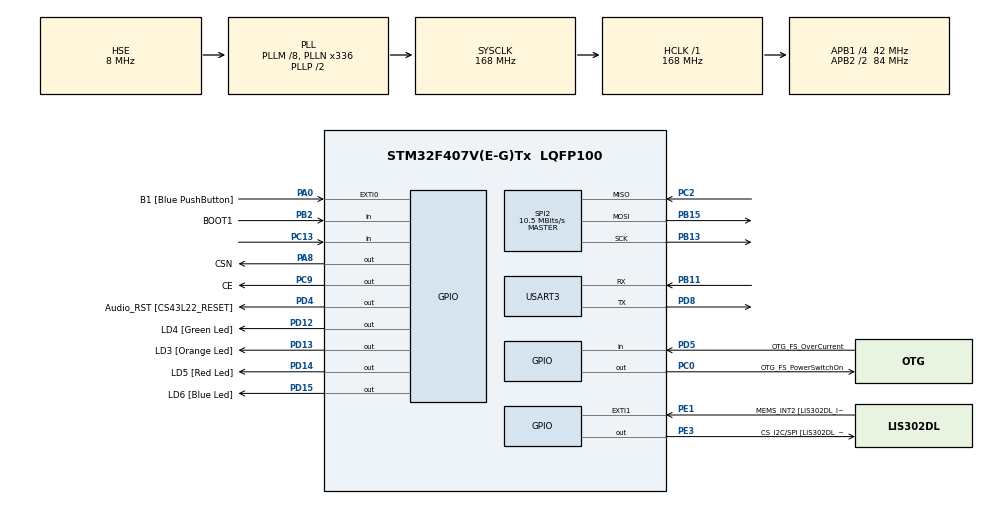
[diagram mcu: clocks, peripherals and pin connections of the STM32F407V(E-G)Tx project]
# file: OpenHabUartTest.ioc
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Mcu.Family=STM32F4
Mcu.Name=STM32F407V(E-G)Tx
Mcu.Package=LQFP100
NVIC.PriorityGroup=NVIC_PRIORITYGROUP_0
NVIC.USART3_IRQn=true\:0\:0\:false
PA0-WKUP.GPIO_Label=B1 [Blue PushButton]
PA0-WKUP.GPIO_ModeDefaultEXTI=GPIO_MODE_EVT_RISING
PA0-WKUP.GPIO_PuPd=GPIO_NOPULL
PA0-WKUP.Signal=GPXTI0
PA10.GPIO_Label=OTG_FS_ID
PA10.GPIO_Mode=GPIO_MODE_AF_PP
PA10.GPIO_PuPd=GPIO_NOPULL
PA10.GPIO_Speed=GPIO_SPEED_LOW
PA10.Signal=USB_OTG_FS_ID
PA11.GPIO_Label=OTG_FS_DM
PA11.GPIO_Mode=GPIO_MODE_AF_PP
PA11.GPIO_PuPd=GPIO_NOPULL
PA11.GPIO_Speed=GPIO_SPEED_LOW
PA11.Signal=USB_OTG_FS_DM
PA12.GPIO_Label=OTG_FS_DP
PA12.GPIO_Mode=GPIO_MODE_AF_PP
PA12.GPIO_PuPd=GPIO_NOPULL
PA12.GPIO_Speed=GPIO_SPEED_LOW
PA12.Signal=USB_OTG_FS_DP
PA13.GPIO_Label=SWDIO
PA13.Mode=Trace-Asynchronous_SW
PA13.Signal=SYS_JTMS-SWDIO
PA14.GPIO_Label=SWCLK
PA14.Mode=Trace-Asynchronous_SW
PA14.Signal=SYS_JTCK-SWCLK
PA4.GPIO_Label=I2S3_WS [CS43L22_LRCK]
PA4.GPIO_Mode=GPIO_MODE_AF_PP
PA4.GPIO_PuPd=GPIO_NOPULL
PA4.GPIO_Speed=GPIO_SPEED_LOW
PA4.Signal=I2S3_WS
PA5.GPIO_Label=SPI1_SCK [LIS302DL_SCL/SPC]
PA5.GPIO_Mode=GPIO_MODE_AF_PP
PA5.GPIO_PuPd=GPIO_NOPULL
PA5.GPIO_Speed=GPIO_SPEED_LOW
PA5.Signal=SPI1_SCK
PA6.GPIO_Label=SPI1_MISO [LIS302DL_SDO]
PA6.GPIO_Mode=GPIO_MODE_AF_PP
PA6.GPIO_PuPd=GPIO_NOPULL
PA6.GPIO_Speed=GPIO_SPEED_LOW
PA6.Signal=SPI1_MISO
PA7.GPIO_Label=SPI1_MOSI [LIS302DL_SDA/SDI/SDO]
PA7.GPIO_Mode=GPIO_MODE_AF_PP
PA7.GPIO_PuPd=GPIO_NOPULL
PA7.GPIO_Speed=GPIO_SPEED_LOW
PA7.Signal=SPI1_MOSI
PA8.GPIO_Label=CSN
PA8.GPIO_ModeDefaultOutputPP=GPIO_MODE_OUTPUT_PP
PA8.GPIO_PuPd=GPIO_NOPULL
PA8.GPIO_Speed=GPIO_SPEED_LOW
PA8.Signal=GPIO_Output
PA9.GPIO_Label=VBUS_FS
PA9.GPIO_Mode=GPIO_MODE_INPUT
PA9.GPIO_PuPd=GPIO_NOPULL
PA9.Signal=USB_OTG_FS_VBUS
PB10.GPIO_Label=CLK_IN [MP45DT02_CLK]
PB10.GPIO_Mode=GPIO_MODE_AF_PP
PB10.GPIO_PuPd=GPIO_NOPULL
PB10.GPIO_Speed=GPIO_SPEED_LOW
PB10.Signal=I2S2_CK
PB11.Mode=Asynchronous
PB11.Signal=USART3_RX
PB13.Mode=Full_Duplex_Master
PB13.Signal=SPI2_SCK
PB15.Mode=Full_Duplex_Master
PB15.Signal=SPI2_MOSI
PB2.GPIO_Label=BOOT1
PB2.GPIO_Mode=GPIO_MODE_INPUT
PB2.GPIO_PuPd=GPIO_NOPULL
PB2.Signal=GPIO_Input
PB3.GPIO_Label=SWO
PB3.Mode=Trace-Asynchronous_SW
PB3.Signal=SYS_JTDO-SWO
PB6.GPIO_Label=Audio_SCL [CS43L22_SCL]
PB6.GPIO_Mode=GPIO_MODE_AF_OD
PB6.GPIO_PuPd=GPIO_NOPULL
PB6.GPIO_PuPdOD=GPIO_PULLUP
PB6.GPIO_Speed=GPIO_SPEED_LOW
PB6.Signal=I2C1_SCL
PB9.GPIO_Label=Audio_SDA [CS43L22_SDA]
PB9.GPIO_Mode=GPIO_MODE_AF_OD
PB9.GPIO_PuPd=GPIO_NOPULL
PB9.GPIO_PuPdOD=GPIO_PULLUP
PB9.GPIO_Speed=GPIO_SPEED_LOW
PB9.Signal=I2C1_SDA
PC0.GPIO_Label=OTG_FS_PowerSwitchOn
PC0.GPIO_ModeDefaultOutputPP=GPIO_MODE_OUTPUT_PP
PC0.GPIO_PuPd=GPIO_NOPULL
PC0.GPIO_Speed=GPIO_SPEED_LOW
PC0.Signal=GPIO_Output
PC10.GPIO_Label=I2S3_SCK [CS43L22_SCLK]
PC10.GPIO_Mode=GPIO_MODE_AF_PP
PC10.GPIO_PuPd=GPIO_NOPULL
PC10.GPIO_Speed=GPIO_SPEED_LOW
PC10.Signal=I2S3_CK
PC12.GPIO_Label=I2S3_SD [CS43L22_SDIN]
PC12.GPIO_Mode=GPIO_MODE_AF_PP
PC12.GPIO_PuPd=GPIO_NOPULL
PC12.GPIO_Speed=GPIO_SPEED_LOW
PC12.Signal=I2S3_SD
PC13-ANTI_TAMP.Signal=GPIO_Input
PC14-OSC32_IN.GPIO_Label=PC14-OSC32_IN
PC14-OSC32_IN.Signal=RCC_OSC32_IN
PC15-OSC32_OUT.GPIO_Label=PC15-OSC32_OUT
PC15-OSC32_OUT.Signal=RCC_OSC32_OUT
PC2.Mode=Full_Duplex_Master
PC2.Signal=SPI2_MISO
PC3.GPIO_Label=PDM_OUT [MP45DT02_DOUT]
PC3.GPIO_Mode=GPIO_MODE_AF_PP
PC3.GPIO_PuPd=GPIO_NOPULL
PC3.GPIO_Speed=GPIO_SPEED_LOW
PC3.Signal=I2S2_SD
PC7.GPIO_Label=I2S3_MCK [CS43L22_MCLK]
PC7.GPIO_Mode=GPIO_MODE_AF_PP
PC7.GPIO_PuPd=GPIO_NOPULL
PC7.GPIO_Speed=GPIO_SPEED_LOW
PC7.Signal=I2S3_MCK
PC9.GPIO_Label=CE
PC9.GPIO_ModeDefaultOutputPP=GPIO_MODE_OUTPUT_PP
PC9.GPIO_PuPd=GPIO_NOPULL
PC9.GPIO_Speed=GPIO_SPEED_LOW
PC9.Signal=GPIO_Output
PD12.GPIO_Label=LD4 [Green Led]
PD12.GPIO_ModeDefaultOutputPP=GPIO_MODE_OUTPUT_PP
PD12.GPIO_PuPd=GPIO_NOPULL
PD12.GPIO_Speed=GPIO_SPEED_LOW
PD12.Signal=GPIO_Output
PD13.GPIO_Label=LD3 [Orange Led]
PD13.GPIO_ModeDefaultOutputPP=GPIO_MODE_OUTPUT_PP
PD13.GPIO_PuPd=GPIO_NOPULL
PD13.GPIO_Speed=GPIO_SPEED_LOW
PD13.Signal=GPIO_Output
PD14.GPIO_Label=LD5 [Red Led]
PD14.GPIO_ModeDefaultOutputPP=GPIO_MODE_OUTPUT_PP
PD14.GPIO_PuPd=GPIO_NOPULL
PD14.GPIO_Speed=GPIO_SPEED_LOW
PD14.Signal=GPIO_Output
PD15.GPIO_Label=LD6 [Blue Led]
PD15.GPIO_ModeDefaultOutputPP=GPIO_MODE_OUTPUT_PP
PD15.GPIO_PuPd=GPIO_NOPULL
PD15.GPIO_Speed=GPIO_SPEED_LOW
PD15.Signal=GPIO_Output
PD4.GPIO_Label=Audio_RST [CS43L22_RESET]
PD4.GPIO_ModeDefaultOutputPP=GPIO_MODE_OUTPUT_PP
PD4.GPIO_PuPd=GPIO_NOPULL
PD4.GPIO_Speed=GPIO_SPEED_LOW
PD4.Signal=GPIO_Output
PD5.GPIO_Label=OTG_FS_OverCurrent
PD5.GPIO_Mode=GPIO_MODE_INPUT
PD5.GPIO_PuPd=GPIO_NOPULL
PD5.Signal=GPIO_Input
PD8.Mode=Asynchronous
PD8.Signal=USART3_TX
PE1.GPIO_Label=MEMS_INT2 [LIS302DL_INT2]
PE1.GPIO_ModeDefaultEXTI=GPIO_MODE_EVT_RISING
PE1.GPIO_PuPd=GPIO_NOPULL
PE1.Signal=GPXTI1
PE3.GPIO_Label=CS_I2C/SPI [LIS302DL_CS_I2C/SPI]
PE3.GPIO_ModeDefaultOutputPP=GPIO_MODE_OUTPUT_PP
PE3.GPIO_PuPd=GPIO_NOPULL
PE3.GPIO_Speed=GPIO_SPEED_LOW
PE3.Signal=GPIO_Output
PH0-OSC_IN.GPIO_Label=PH0-OSC_IN
PH0-OSC_IN.Mode=HSE-External-Oscillator
PH0-OSC_IN.Signal=RCC_OSC_IN
PH1-OSC_OUT.GPIO_Label=PH1-OSC_OUT
PH1-OSC_OUT.Mode=HSE-External-Oscillator
PH1-OSC_OUT.Signal=RCC_OSC_OUT
ProjectManager.TargetToolchain=MDK-ARM V5
RCC.48MHZClocksFreq_Value=48000000
RCC.AHBFreq_Value=168000000
RCC.APB1CLKDivider=RCC_HCLK_DIV4
RCC.APB1Freq_Value=42000000
RCC.APB1TimFreq_Value=84000000
RCC.APB2CLKDivider=RCC_HCLK_DIV2
RCC.APB2Freq_Value=84000000
RCC.APB2TimFreq_Value=168000000
RCC.CortexFreq_Value=21000000
RCC.HCLKFreq_Value=168000000
RCC.HSE_VALUE=8000000
RCC.HSI_VALUE=16000000
RCC.LSE_VALUE=32768
RCC.PLLM=8
RCC.PLLN=336
RCC.PLLQ=7
RCC.PLLSource=RCC_PLLSOURCE_HSE
RCC.PLLSourceVirtual=RCC_PLLSOURCE_HSE
RCC.SYSCLKFreq_VALUE=168000000
RCC.SYSCLKSource=RCC_SYSCLKSOURCE_PLLCLK
RCC.VCOOutputFreq_Value=336000000
SPI2.BaudRatePrescaler=SPI_BAUDRATEPRESCALER_4
SPI2.CalculateBaudRate=10.5 MBits/s
SPI2.Mode=SPI_MODE_MASTER

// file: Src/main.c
/**
  ******************************************************************************
  * File Name          : main.c
  * Date               : 03/08/2015 18:04:39
  * Description        : Main program body
  ******************************************************************************
  *
  * COPYRIGHT(c) 2015 STMicroelectronics
  *
  * Redistribution and use in source and binary forms, with or without modification,
  * are permitted provided that the following conditions are met:
  *   1. Redistributions of source code must retain the above copyright notice,
  *      this list of conditions and the following disclaimer.
  *   2. Redistributions in binary form must reproduce the above copyright notice,
  *      this list of conditions and the following disclaimer in the documentation
  *      and/or other materials provided with the distribution.
  *   3. Neither the name of STMicroelectronics nor the names of its contributors
  *      may be used to endorse or promote products derived from this software
  *      without specific prior written permission.
  *
  * THIS SOFTWARE IS PROVIDED BY THE COPYRIGHT HOLDERS AND CONTRIBUTORS "AS IS"
  * AND ANY EXPRESS OR IMPLIED WARRANTIES, INCLUDING, BUT NOT LIMITED TO, THE
  * IMPLIED WARRANTIES OF MERCHANTABILITY AND FITNESS FOR A PARTICULAR PURPOSE ARE
  * DISCLAIMED. IN NO EVENT SHALL THE COPYRIGHT HOLDER OR CONTRIBUTORS BE LIABLE
  * FOR ANY DIRECT, INDIRECT, INCIDENTAL, SPECIAL, EXEMPLARY, OR CONSEQUENTIAL
  * DAMAGES (INCLUDING, BUT NOT LIMITED TO, PROCUREMENT OF SUBSTITUTE GOODS OR
  * SERVICES; LOSS OF USE, DATA, OR PROFITS; OR BUSINESS INTERRUPTION) HOWEVER
  * CAUSED AND ON ANY THEORY OF LIABILITY, WHETHER IN CONTRACT, STRICT LIABILITY,
  * OR TORT (INCLUDING NEGLIGENCE OR OTHERWISE) ARISING IN ANY WAY OUT OF THE USE
  * OF THIS SOFTWARE, EVEN IF ADVISED OF THE POSSIBILITY OF SUCH DAMAGE.
  *
  ******************************************************************************
  */

#include "stm32f4xx_hal.h"

/* USER CODE BEGIN Includes */
#include <string.h>
#include <stdbool.h>
#include "NRF24.h"
#include "AES.h"
#include "encrypted_block.h"
#include "nrf24_address_cfg.h"
/* USER CODE END Includes */

SPI_HandleTypeDef hspi2;

UART_HandleTypeDef huart3;

void SystemClock_Config(void);
static void MX_GPIO_Init(void);
static void MX_SPI2_Init(void);
static void MX_USART3_UART_Init(void);

/* USER CODE BEGIN 0 */
void Light(bool val)
{
	if(val)
	{
		HAL_GPIO_WritePin(GPIOD, GPIO_PIN_15, GPIO_PIN_SET);
	}
	else{
		HAL_GPIO_WritePin(GPIOD, GPIO_PIN_15, GPIO_PIN_RESET);
	}
}

typedef enum
{
	ACCIDENT_MODE=0,
	REGULAR_MODE
} AccidentStatus;

typedef struct
{
	uint8_t Sec;
	uint8_t Min;
	uint8_t Hour;
}Time;

typedef struct
{
	uint8_t Day;
	uint8_t Mont;
	uint8_t Year;
}Date;

typedef struct
{
	Time Time;
	uint8_t WeekDay;
	Date Date;
} DateTime;

typedef enum ValveStatus
{
	VALVE_STATUS_CLOSED=0,
	VALVE_STATUS_OPENED
} ValveStatus;

typedef struct
{
	uint32_t ccw; //0-3
	uint32_t chw; //4-7
	AccidentStatus accident_status; //8
	uint16_t accident_level_value; //9,10
	DateTime valveCloseDate; //11,12,13, 14-���� ������, 15,16,17
	DateTime valveOpenDate; //18 - 24
	ValveStatus valveStatus; //25
	uint16_t radio_onair_interval; //26,27
	//uint32_t key; //28-31
	//DateTime radio_sensor_dateTime; //32 - 38
} SettingsAndStatus;

aes128_ctx_t AES_ctx;

uint8_t readUart(uint8_t * buff, uint8_t max)
{
	uint8_t cur_pos=0;
	while(cur_pos<max)
	{
		if( HAL_UART_Receive(&huart3, &buff[cur_pos++], 1, 100) != HAL_OK)break;
	}
	buff[--cur_pos]=0;
	return cur_pos;
}

/* USER CODE END 0 */

int main(void)
{

  /* MCU Configuration----------------------------------------------------------*/

  /* Reset of all peripherals, Initializes the Flash interface and the Systick. */
  HAL_Init();

  /* Configure the system clock */
  SystemClock_Config();

  /* Initialize all configured peripherals */
  MX_GPIO_Init();
  MX_SPI2_Init();
  MX_USART3_UART_Init();

  /* USER CODE BEGIN 2 */
	nrf24_init(&hspi2);

	nrf24_config(99,32);

  //nrf24_tx_address(tx_address);
  nrf24_rx_address(RX_ADDR_P1, openhab_gate_address);
	uint8_t buff[32];

	nrf24_powerUpRx();

	aes128_init(AES_key, &AES_ctx);
	uint8_t inputBuff[20];

  /* USER CODE END 2 */

  /* Infinite loop */
  /* USER CODE BEGIN WHILE */
  while (1)
  {
		if(nrf24_dataReady()) // main controller -> OpenHAB
    {
			HAL_GPIO_TogglePin(GPIOD, GPIO_PIN_15); //blue

      nrf24_getData(buff);
			SettingsAndStatus * data=(SettingsAndStatus *)buff;

			char text[32];
			sprintf(text, "CCW %d", data->ccw);
			HAL_UART_Transmit(&huart3, (uint8_t*)text, strlen(text), 100);
			HAL_Delay(200);

			sprintf(text, "CHW %d", data->chw);
			HAL_UART_Transmit(&huart3, (uint8_t*)text, strlen(text), 100);
			HAL_Delay(200);

			if(data->valveStatus==VALVE_STATUS_CLOSED)
			{
				HAL_UART_Transmit(&huart3, (uint8_t*)"V0", 2, 100);
				HAL_Delay(200);
			}
			if(data->valveStatus==VALVE_STATUS_OPENED)
			{
				HAL_UART_Transmit(&huart3, (uint8_t*)"V1", 2, 100);
				HAL_Delay(200);
			}

			if(data->accident_status==ACCIDENT_MODE)
			{
				HAL_UART_Transmit(&huart3, (uint8_t*)"ACCIDENT1", 9, 100);
				HAL_Delay(200);
			}
			if(data->accident_status==REGULAR_MODE)
			{
				HAL_UART_Transmit(&huart3, (uint8_t*)"ACCIDENT0", 9, 100);
				HAL_Delay(200);
			}

		}

		uint8_t tempBuff[32];
		EncryptedBlock * eb=(EncryptedBlock *)tempBuff;
		bool needDataToSend=false;

		if(HAL_GPIO_ReadPin(GPIOA, GPIO_PIN_0)==GPIO_PIN_SET)
		{
			eb->data[0]=4;
			needDataToSend=true;
			while(HAL_GPIO_ReadPin(GPIOA, GPIO_PIN_0)==GPIO_PIN_SET){};
		}

		if(readUart(inputBuff, 20)>0) //OpenHAB -> main controller
		{
			HAL_GPIO_TogglePin(GPIOD, GPIO_PIN_14); //red

			nrf24_tx_address(master_controller_address_pipe2);

			if(strcmp((const char*)inputBuff, "*V0")==0)
			{
				eb->data[0]=0;
				needDataToSend=true;
			}

			if(strcmp((const char*)inputBuff, "*V1")==0)
			{
				eb->data[0]=1;
				needDataToSend=true;
			}

			if(strcmp((const char*)inputBuff, "*ACCIDENT0")==0)
			{
				eb->data[0]=2;
				needDataToSend=true;
			}

			if(strcmp((const char*)inputBuff, "*ACCIDENT1")==0)
			{
				eb->data[0]=3;
				needDataToSend=true;
			}

			if(strcmp((const char*)inputBuff, "*BEEP")==0)
			{
				eb->data[0]=4;
				needDataToSend=true;
			}

		}

		if(needDataToSend)
		{
			HAL_GPIO_TogglePin(GPIOD, GPIO_PIN_13); //orange

			aes128_enc(tempBuff, &AES_ctx);
			//aes128_enc(tempBuff+16, &AES_ctx);

			nrf24_sendDL(tempBuff, 16);
			while(nrf24_isSending()){};

			nrf24_powerUpRx();
		}

  /* USER CODE END WHILE */

  }

}

/** System Clock Configuration
*/
void SystemClock_Config(void)
{

  RCC_OscInitTypeDef RCC_OscInitStruct;
  RCC_ClkInitTypeDef RCC_ClkInitStruct;

  __PWR_CLK_ENABLE();

  __HAL_PWR_VOLTAGESCALING_CONFIG(PWR_REGULATOR_VOLTAGE_SCALE1);

  RCC_OscInitStruct.OscillatorType = RCC_OSCILLATORTYPE_HSE;
  RCC_OscInitStruct.HSEState = RCC_HSE_ON;
  RCC_OscInitStruct.PLL.PLLState = RCC_PLL_ON;
  RCC_OscInitStruct.PLL.PLLSource = RCC_PLLSOURCE_HSE;
  RCC_OscInitStruct.PLL.PLLM = 8;
  RCC_OscInitStruct.PLL.PLLN = 336;
  RCC_OscInitStruct.PLL.PLLP = RCC_PLLP_DIV2;
  RCC_OscInitStruct.PLL.PLLQ = 7;
  HAL_RCC_OscConfig(&RCC_OscInitStruct);

  RCC_ClkInitStruct.ClockType = RCC_CLOCKTYPE_SYSCLK|RCC_CLOCKTYPE_PCLK1
                              |RCC_CLOCKTYPE_PCLK2;
  RCC_ClkInitStruct.SYSCLKSource = RCC_SYSCLKSOURCE_PLLCLK;
  RCC_ClkInitStruct.AHBCLKDivider = RCC_SYSCLK_DIV1;
  RCC_ClkInitStruct.APB1CLKDivider = RCC_HCLK_DIV4;
  RCC_ClkInitStruct.APB2CLKDivider = RCC_HCLK_DIV2;
  HAL_RCC_ClockConfig(&RCC_ClkInitStruct, FLASH_LATENCY_5);

}

/* SPI2 init function */
void MX_SPI2_Init(void)
{

  hspi2.Instance = SPI2;
  hspi2.Init.Mode = SPI_MODE_MASTER;
  hspi2.Init.Direction = SPI_DIRECTION_2LINES;
  hspi2.Init.DataSize = SPI_DATASIZE_8BIT;
  hspi2.Init.CLKPolarity = SPI_POLARITY_LOW;
  hspi2.Init.CLKPhase = SPI_PHASE_1EDGE;
  hspi2.Init.NSS = SPI_NSS_SOFT;
  hspi2.Init.BaudRatePrescaler = SPI_BAUDRATEPRESCALER_4;
  hspi2.Init.FirstBit = SPI_FIRSTBIT_MSB;
  hspi2.Init.TIMode = SPI_TIMODE_DISABLED;
  hspi2.Init.CRCCalculation = SPI_CRCCALCULATION_DISABLED;
  HAL_SPI_Init(&hspi2);

}

/* USART3 init function */
void MX_USART3_UART_Init(void)
{

  huart3.Instance = USART3;
  huart3.Init.BaudRate = 115200;
  huart3.Init.WordLength = UART_WORDLENGTH_8B;
  huart3.Init.StopBits = UART_STOPBITS_1;
  huart3.Init.Parity = UART_PARITY_NONE;
  huart3.Init.Mode = UART_MODE_TX_RX;
  huart3.Init.HwFlowCtl = UART_HWCONTROL_NONE;
  huart3.Init.OverSampling = UART_OVERSAMPLING_16;
  HAL_UART_Init(&huart3);

}

/** Configure pins as
        * Analog
        * Input
        * Output
        * EVENT_OUT
        * EXTI
     PC3   ------> I2S2_SD
     PA4   ------> I2S3_WS
     PA5   ------> SPI1_SCK
     PA6   ------> SPI1_MISO
     PA7   ------> SPI1_MOSI
     PB10   ------> I2S2_CK
     PC7   ------> I2S3_MCK
     PA9   ------> USB_OTG_FS_VBUS
     PA10   ------> USB_OTG_FS_ID
     PA11   ------> USB_OTG_FS_DM
     PA12   ------> USB_OTG_FS_DP
     PC10   ------> I2S3_CK
     PC12   ------> I2S3_SD
     PB6   ------> I2C1_SCL
     PB9   ------> I2C1_SDA
*/
void MX_GPIO_Init(void)
{

  GPIO_InitTypeDef GPIO_InitStruct;

  /* GPIO Ports Clock Enable */
  __GPIOE_CLK_ENABLE();
  __GPIOC_CLK_ENABLE();
  __GPIOH_CLK_ENABLE();
  __GPIOA_CLK_ENABLE();
  __GPIOB_CLK_ENABLE();
  __GPIOD_CLK_ENABLE();

  /*Configure GPIO pin : PE3 */
  GPIO_InitStruct.Pin = GPIO_PIN_3;
  GPIO_InitStruct.Mode = GPIO_MODE_OUTPUT_PP;
  GPIO_InitStruct.Pull = GPIO_NOPULL;
  GPIO_InitStruct.Speed = GPIO_SPEED_LOW;
  HAL_GPIO_Init(GPIOE, &GPIO_InitStruct);

  /*Configure GPIO pin : PC13 */
  GPIO_InitStruct.Pin = GPIO_PIN_13;
  GPIO_InitStruct.Mode = GPIO_MODE_INPUT;
  GPIO_InitStruct.Pull = GPIO_NOPULL;
  HAL_GPIO_Init(GPIOC, &GPIO_InitStruct);

  /*Configure GPIO pins : PC0 PC9 */
  GPIO_InitStruct.Pin = GPIO_PIN_0|GPIO_PIN_9;
  GPIO_InitStruct.Mode = GPIO_MODE_OUTPUT_PP;
  GPIO_InitStruct.Pull = GPIO_NOPULL;
  GPIO_InitStruct.Speed = GPIO_SPEED_LOW;
  HAL_GPIO_Init(GPIOC, &GPIO_InitStruct);

  /*Configure GPIO pin : PC3 */
  GPIO_InitStruct.Pin = GPIO_PIN_3;
  GPIO_InitStruct.Mode = GPIO_MODE_AF_PP;
  GPIO_InitStruct.Pull = GPIO_NOPULL;
  GPIO_InitStruct.Speed = GPIO_SPEED_LOW;
  GPIO_InitStruct.Alternate = GPIO_AF5_SPI2;
  HAL_GPIO_Init(GPIOC, &GPIO_InitStruct);

  /*Configure GPIO pin : PA0 */
  GPIO_InitStruct.Pin = GPIO_PIN_0;
  GPIO_InitStruct.Mode = GPIO_MODE_EVT_RISING;
  GPIO_InitStruct.Pull = GPIO_NOPULL;
  HAL_GPIO_Init(GPIOA, &GPIO_InitStruct);

  /*Configure GPIO pin : PA4 */
  GPIO_InitStruct.Pin = GPIO_PIN_4;
  GPIO_InitStruct.Mode = GPIO_MODE_AF_PP;
  GPIO_InitStruct.Pull = GPIO_NOPULL;
  GPIO_InitStruct.Speed = GPIO_SPEED_LOW;
  GPIO_InitStruct.Alternate = GPIO_AF6_SPI3;
  HAL_GPIO_Init(GPIOA, &GPIO_InitStruct);

  /*Configure GPIO pins : PA5 PA6 PA7 */
  GPIO_InitStruct.Pin = GPIO_PIN_5|GPIO_PIN_6|GPIO_PIN_7;
  GPIO_InitStruct.Mode = GPIO_MODE_AF_PP;
  GPIO_InitStruct.Pull = GPIO_NOPULL;
  GPIO_InitStruct.Speed = GPIO_SPEED_LOW;
  GPIO_InitStruct.Alternate = GPIO_AF5_SPI1;
  HAL_GPIO_Init(GPIOA, &GPIO_InitStruct);

  /*Configure GPIO pin : PB2 */
  GPIO_InitStruct.Pin = GPIO_PIN_2;
  GPIO_InitStruct.Mode = GPIO_MODE_INPUT;
  GPIO_InitStruct.Pull = GPIO_NOPULL;
  HAL_GPIO_Init(GPIOB, &GPIO_InitStruct);

  /*Configure GPIO pin : PB10 */
  GPIO_InitStruct.Pin = GPIO_PIN_10;
  GPIO_InitStruct.Mode = GPIO_MODE_AF_PP;
  GPIO_InitStruct.Pull = GPIO_NOPULL;
  GPIO_InitStruct.Speed = GPIO_SPEED_LOW;
  GPIO_InitStruct.Alternate = GPIO_AF5_SPI2;
  HAL_GPIO_Init(GPIOB, &GPIO_InitStruct);

  /*Configure GPIO pins : PD12 PD13 PD14 PD15
                           PD4 */
  GPIO_InitStruct.Pin = GPIO_PIN_12|GPIO_PIN_13|GPIO_PIN_14|GPIO_PIN_15
                          |GPIO_PIN_4;
  GPIO_InitStruct.Mode = GPIO_MODE_OUTPUT_PP;
  GPIO_InitStruct.Pull = GPIO_NOPULL;
  GPIO_InitStruct.Speed = GPIO_SPEED_LOW;
  HAL_GPIO_Init(GPIOD, &GPIO_InitStruct);

  /*Configure GPIO pins : PC7 PC10 PC12 */
  GPIO_InitStruct.Pin = GPIO_PIN_7|GPIO_PIN_10|GPIO_PIN_12;
  GPIO_InitStruct.Mode = GPIO_MODE_AF_PP;
  GPIO_InitStruct.Pull = GPIO_NOPULL;
  GPIO_InitStruct.Speed = GPIO_SPEED_LOW;
  GPIO_InitStruct.Alternate = GPIO_AF6_SPI3;
  HAL_GPIO_Init(GPIOC, &GPIO_InitStruct);

  /*Configure GPIO pin : PA8 */
  GPIO_InitStruct.Pin = GPIO_PIN_8;
  GPIO_InitStruct.Mode = GPIO_MODE_OUTPUT_PP;
  GPIO_InitStruct.Pull = GPIO_NOPULL;
  GPIO_InitStruct.Speed = GPIO_SPEED_LOW;
  HAL_GPIO_Init(GPIOA, &GPIO_InitStruct);

  /*Configure GPIO pin : PA9 */
  GPIO_InitStruct.Pin = GPIO_PIN_9;
  GPIO_InitStruct.Mode = GPIO_MODE_INPUT;
  GPIO_InitStruct.Pull = GPIO_NOPULL;
  HAL_GPIO_Init(GPIOA, &GPIO_InitStruct);

  /*Configure GPIO pins : PA10 PA11 PA12 */
  GPIO_InitStruct.Pin = GPIO_PIN_10|GPIO_PIN_11|GPIO_PIN_12;
  GPIO_InitStruct.Mode = GPIO_MODE_AF_PP;
  GPIO_InitStruct.Pull = GPIO_NOPULL;
  GPIO_InitStruct.Speed = GPIO_SPEED_LOW;
  GPIO_InitStruct.Alternate = GPIO_AF10_OTG_FS;
  HAL_GPIO_Init(GPIOA, &GPIO_InitStruct);

  /*Configure GPIO pin : PD5 */
  GPIO_InitStruct.Pin = GPIO_PIN_5;
  GPIO_InitStruct.Mode = GPIO_MODE_INPUT;
  GPIO_InitStruct.Pull = GPIO_NOPULL;
  HAL_GPIO_Init(GPIOD, &GPIO_InitStruct);

  /*Configure GPIO pins : PB6 PB9 */
  GPIO_InitStruct.Pin = GPIO_PIN_6|GPIO_PIN_9;
  GPIO_InitStruct.Mode = GPIO_MODE_AF_OD;
  GPIO_InitStruct.Pull = GPIO_PULLUP;
  GPIO_InitStruct.Speed = GPIO_SPEED_LOW;
  GPIO_InitStruct.Alternate = GPIO_AF4_I2C1;
  HAL_GPIO_Init(GPIOB, &GPIO_InitStruct);

  /*Configure GPIO pin : PE1 */
  GPIO_InitStruct.Pin = GPIO_PIN_1;
  GPIO_InitStruct.Mode = GPIO_MODE_EVT_RISING;
  GPIO_InitStruct.Pull = GPIO_NOPULL;
  HAL_GPIO_Init(GPIOE, &GPIO_InitStruct);

}

/************************ (C) COPYRIGHT STMicroelectronics *****END OF FILE****/
